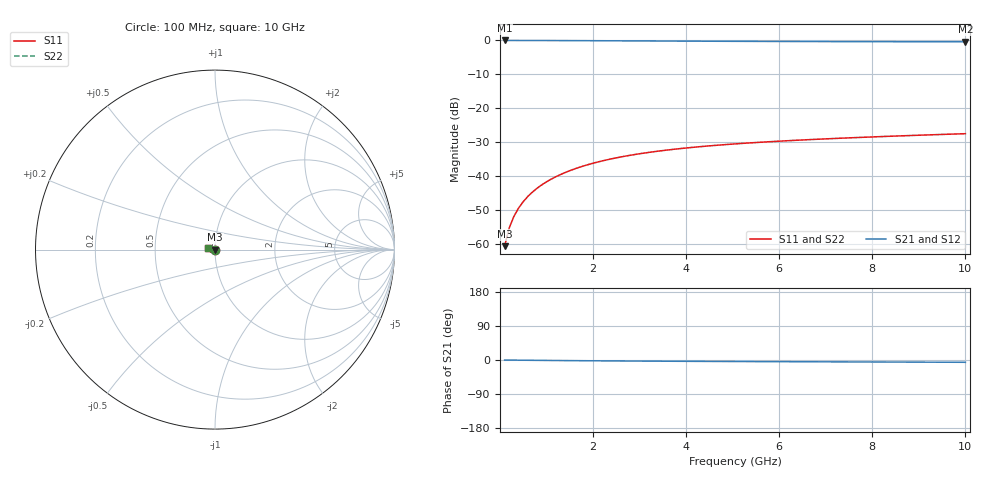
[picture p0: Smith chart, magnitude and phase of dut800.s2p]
! Touchstone file exported from HFSS 2024.1.0
!  File:  C:/UserFiles/LocalFiles/RDL_TSV_Batchsim/temp_TSV1_800_1779876474.aedt
!  Generated:  06:15:10 PM May 27, 2026
!  Design:  TSV1
!  Project:  temp_TSV1_800_1779876474
!  Setup:  Setup1
!  Solution:  Sweep
! Variables:
!  dtsv = 6.17um
!  hbump = 3um
!  htsv = 95.8um
!  lrdl = 252.1521522um
!  p = 40
!  p1 = 40.22um
!  t = 500um
!  trdl = 3um
!  wrdl = 24.89489489um
# GHz S MA R 50.000000
! Terminal data exported
! Port[1] = TSV22_T1
! Port[2] = TSV22_T2
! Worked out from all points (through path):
!   100 points, 100 MHz to 10 GHz, reference 50 ohm
!   highest |S21| = 0.00 dB at 100 MHz (marker M1); lowest = -0.4 dB at 10 GHz (marker M2)
!   lowest |S11| = -60.6 dB at 100 MHz (marker M3), VSWR 1.00, Z = 50 - j0.084 ohm
!   |S11| at or under -10 dB: start of sweep to end of sweep
!   |S22| runs from -60.6 to -27.5 dB; largest |S21 - S12| = 4e-15
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0.1  0.0009287 -64.6  0.9995 -0.1  0.9995 -0.1  0.0009287 -64.6
! Gamma 0 0 0 0
! Port Impedance 50 0 50 0
0.2  0.001728 -79.1  0.9995 -0.2  0.9995 -0.2  0.001728 -79.1
0.3  0.002552 -85.4  0.9993 -0.3  0.9993 -0.3  0.002552 -85.4
0.4  0.003379 -89.5  0.9991 -0.5  0.9991 -0.5  0.003379 -89.5
0.5  0.004205 -92.6  0.9989 -0.6  0.9989 -0.6  0.004205 -92.6
0.6  0.005027 -95.3  0.9986 -0.7  0.9986 -0.7  0.005027 -95.3
0.7  0.005843 -97.6  0.9983 -0.8  0.9983 -0.8  0.005843 -97.6
0.8  0.006651 -99.8  0.998 -0.9  0.998 -0.9  0.006651 -99.8
0.9  0.007451 -101.9  0.9976 -1.0  0.9976 -1.0  0.007451 -101.9
1.1  0.009023 -105.7  0.9966 -1.2  0.9966 -1.2  0.009023 -105.7
1.4  0.0113 -111.1  0.995 -1.5  0.995 -1.5  0.0113 -111.1
1.6  0.01275 -114.5  0.9938 -1.7  0.9938 -1.7  0.01275 -114.5
1.8  0.01415 -117.7  0.9925 -1.9  0.9925 -1.9  0.01415 -117.7
2.1  0.01614 -122.4  0.9904 -2.2  0.9904 -2.2  0.01614 -122.4
2.5  0.0186 -128.2  0.9875 -2.5  0.9875 -2.5  0.0186 -128.2
2.9  0.02084 -133.7  0.9845 -2.8  0.9845 -2.8  0.02084 -133.7
3.4  0.02335 -140.0  0.9809 -3.1  0.9809 -3.1  0.02335 -140.0
4.2  0.0268 -149.2  0.9756 -3.6  0.9756 -3.6  0.0268 -149.2
5.1  0.03003 -158.2  0.9705 -4.0  0.9705 -4.0  0.03003 -158.2
6.7  0.03466 -171.6  0.9634 -4.7  0.9634 -4.7  0.03466 -171.6
8.4  0.03875 176.7  0.9581 -5.4  0.9581 -5.4  0.03875 176.7
10  0.04225 167.6  0.9546 -6.0  0.9546 -6.0  0.04225 167.6
